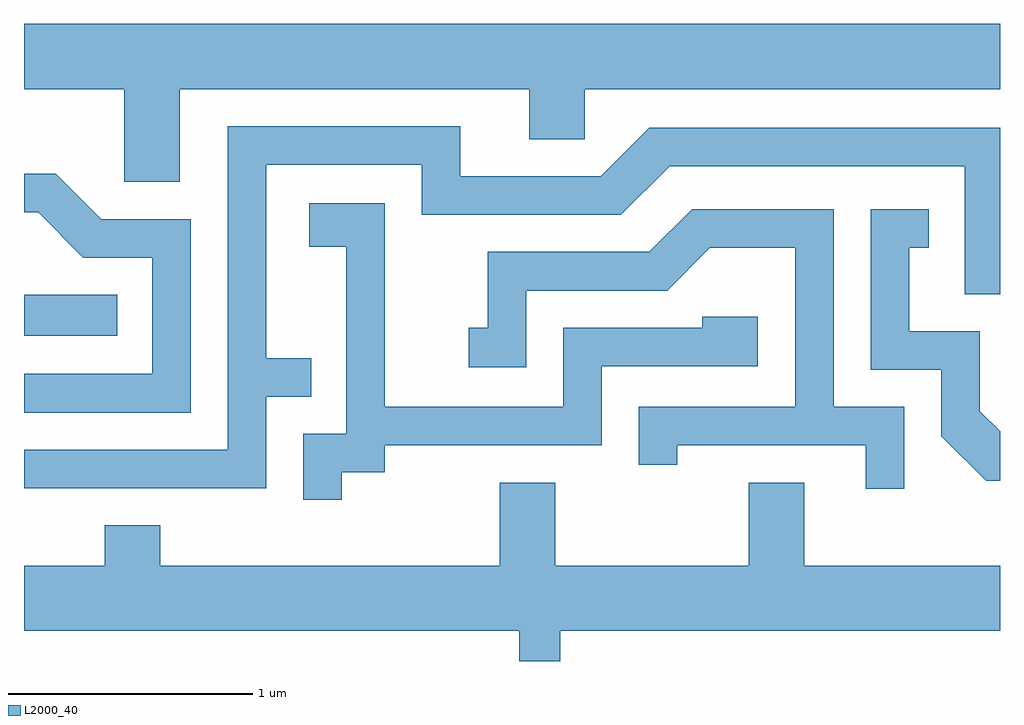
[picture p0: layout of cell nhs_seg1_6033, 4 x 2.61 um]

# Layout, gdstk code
import gdstk
lib = gdstk.Library(unit=1e-6, precision=1e-09)
def R(c, l, rs):  # rectangles x0, y0, x1, y1
    for r in rs: c.add(gdstk.rectangle(r[:2], r[2:], *l))
def P(c, l, *ps):  # polygons
    for p in ps: c.add(gdstk.Polygon(p, *l))
L2000_40 = (2000, 40)

nhs_seg1_6033 = lib.new_cell('nhs_seg1_6033')
R(nhs_seg1_6033, L2000_40, [(367.611,863.046,367.993,863.214)])
P(nhs_seg1_6033, L2000_40, [(368.249,864.056),(369.681,864.056),(369.681,863.851),(369.909,863.851),(369.909,864.056),(371.611,864.056),(371.611,864.324),(367.611,864.324),(367.611,864.056),(368.021,864.056),(368.021,863.676),(368.249,863.676)],
  [(368.604,862.796),(368.788,862.796),(368.788,862.954),(368.604,862.954),(368.604,863.746),(369.241,863.746),(369.241,863.541),(370.057,863.541),(370.257,863.741),(371.466,863.741),(371.466,863.216),(371.611,863.216),(371.611,863.899),(370.174,863.899),(369.974,863.699),(369.399,863.699),(369.399,863.904),(368.446,863.904),(368.446,862.579),(367.611,862.579),(367.611,862.421),(368.604,862.421)],
  [(368.294,863.524),(367.927,863.524),(367.742,863.709),(367.611,863.709),(367.611,863.551),(367.669,863.551),(367.854,863.366),(368.136,863.366),(368.136,862.889),(367.611,862.889),(367.611,862.731),(368.294,862.731)],
  [(368.914,862.486),(369.089,862.486),(369.089,862.596),(369.979,862.596),(369.979,862.921),(370.619,862.921),(370.619,863.124),(370.391,863.124),(370.391,863.079),(369.821,863.079),(369.821,862.754),(369.089,862.754),(369.089,863.589),(368.781,863.589),(368.781,863.411),(368.931,863.411),(368.931,862.644),(368.756,862.644),(368.756,862.373),(368.914,862.373)],
  [(371.219,862.754),(370.929,862.754),(370.929,863.564),(370.349,863.564),(370.174,863.389),(369.511,863.389),(369.511,863.079),(369.433,863.079),(369.433,862.916),(369.669,862.916),(369.669,863.231),(370.247,863.231),(370.422,863.406),(370.771,863.406),(370.771,862.754),(370.131,862.754),(370.131,862.518),(370.289,862.518),(370.289,862.596),(371.061,862.596),(371.061,862.418),(371.219,862.418)],
  [(371.611,862.655),(371.529,862.737),(371.529,863.064),(371.239,863.064),(371.239,863.406),(371.318,863.406),(371.318,863.564),(371.081,863.564),(371.081,862.906),(371.371,862.906),(371.371,862.634),(371.554,862.451),(371.611,862.451)],
  [(369.809,861.836),(371.611,861.836),(371.611,862.104),(370.809,862.104),(370.809,862.444),(370.581,862.444),(370.581,862.104),(369.789,862.104),(369.789,862.444),(369.561,862.444),(369.561,862.104),(368.169,862.104),(368.169,862.269),(367.941,862.269),(367.941,862.104),(367.611,862.104),(367.611,861.836),(369.641,861.836),(369.641,861.712),(369.809,861.712)])

lib.write_gds('nhs_seg1_6033.gds')
